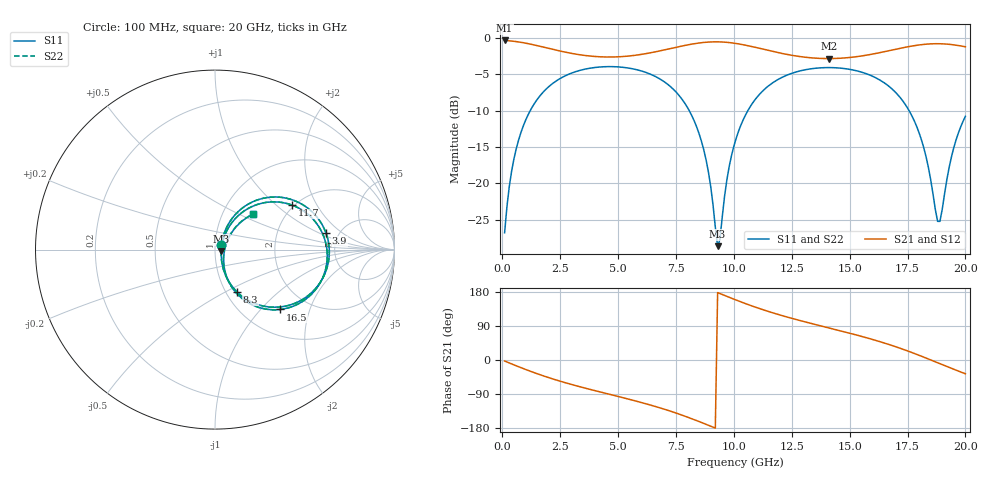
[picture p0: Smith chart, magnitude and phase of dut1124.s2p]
! Touchstone file exported from HFSS 2026.1.0
!  File:  C:/ffzhzh/LocalFiles/Ansys_Project_Files/temp_train_TSV_RDL_1124_1783306709_38820.aedt
!  Generated:  11:13:27 AM Jul  6, 2026
!  Design:  TSV_RDL
!  Project:  temp_train_TSV_RDL_1124_1783306709_38820
! Variables:
!  h_bsmrdl = 3.47um
!  h_ox = 20um
!  h_rdl = 5um
!  h_sub = 78.62um
!  h_tmrdl = 4.12um
!  h_tsv = 78.62um
!  h_via = 3um
!  l_bsmrdl = 933.79um
!  l_sub = 6742.02um
!  l_tmrdl = 856.76um
!  m_sub = 200um
!  pitch = 56.29um
!  r_tsv = 6.71um
!  s_tmrdl = 10um
!  w_bsmrdl = 13.19um
!  w_sub = 500um
!  w_tmrdl = 24.68um
!  x_tsv_center1 = 869.1um
!  x_tsv_center2 = 1816.08um
!  x_tsv_center3 = 2697.52um
!  x_tsv_center4 = 3644.5um
!  x_tsv_center5 = 4525.94um
!  x_tsv_center6 = 5472.92um
# GHz S MA R 50.000000
! Terminal data exported
! Port[1] = TM_RDL1_1_T1
! Port[2] = TM_RDL5_1_T1
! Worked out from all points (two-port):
!   200 points, 100 MHz to 20 GHz, reference 50 ohm
!   highest |S21| = -0.31 dB at 100 MHz (marker M1); lowest = -2.8 dB at 14.1 GHz (marker M2)
!   |S21| within 3 dB of the highest: start of sweep to end of sweep
!   lowest |S11| = -28.7 dB at 9.3 GHz (marker M3), VSWR 1.08, Z = 53.7 - j1.06 ohm
!   |S11| at or under -10 dB: start of sweep to 1.204 GHz; 8.075 GHz to 10.6 GHz (2.527 GHz wide, 27.1 % of centre); 17.57 GHz to end of sweep
!   |S22| runs from -28.9 to -3.9 dB; largest |S21 - S12| = 1.6e-14
!   S11 on the Smith chart (normalised r, x): 100 MHz: 1.07, +0.06; 3.9 GHz: 3.95, +1.20; 8.3 GHz: 1.13, -0.57; 11.7 GHz: 1.95, +1.28; 16.5 GHz: 1.46, -1.29; 20 GHz: 1.39, +0.60
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0.1  0.04559 38.3  0.9651 -2.6  0.9651 -2.6  0.04559 38.3
! Gamma 0 0 0 0
! Port Impedance 50 0 50 0
0.5  0.1465 62.4  0.9525 -12.8  0.9525 -12.8  0.1465 62.4
1.1  0.2934 55.5  0.9188 -27.1  0.9188 -27.1  0.2934 55.5
2.1  0.4771 37.4  0.844 -48.4  0.844 -48.4  0.4771 37.4
3.5  0.6085 14.5  0.763 -73.0  0.763 -73.0  0.6085 14.5
3.9  0.6253 8.5  0.7507 -79.3  0.7507 -79.3  0.6254 8.5
5.3  0.6276 -12.0  0.7497 -100.8  0.7497 -100.8  0.6276 -12.0
6.8  0.5246 -35.7  0.8173 -126.1  0.8173 -126.1  0.5246 -35.7
8.3  0.2666 -62.4  0.9173 -157.7  0.9173 -157.7  0.2666 -62.6
8.9  0.1201 -66.8  0.9407 -172.2  0.9407 -172.2  0.1199 -67.2
9.3  0.03686 -15.5  0.9441 177.8  0.9441 177.8  0.03601 -16.0
9.7  0.1059 56.5  0.9368 167.9  0.9368 167.9  0.1054 56.9
10.1  0.2041 56.8  0.9197 158.2  0.9197 158.2  0.2038 57.1
11.7  0.4956 30.0  0.8095 124.1  0.8095 124.1  0.4954 30.1
13.4  0.6176 3.7  0.7312 95.5  0.7312 95.5  0.6175 3.7
14.1  0.6275 -6.3  0.7239 84.8  0.7239 84.8  0.6274 -6.3
16.5  0.4922 -42.6  0.8074 44.8  0.8074 44.8  0.4921 -42.7
16.7  0.4658 -46.0  0.8202 40.9  0.8202 40.9  0.4658 -46.1
18  0.2229 -66.0  0.8988 12.4  0.8988 12.4  0.2227 -66.3
18.8  0.05466 -22.7  0.9166 -7.2  0.9166 -7.2  0.05326 -23.1
19.5  0.1762 47.2  0.9 -24.5  0.9 -24.5  0.1756 47.7
20  0.2892 42.8  0.8729 -36.3  0.8729 -36.3  0.2888 43.1
